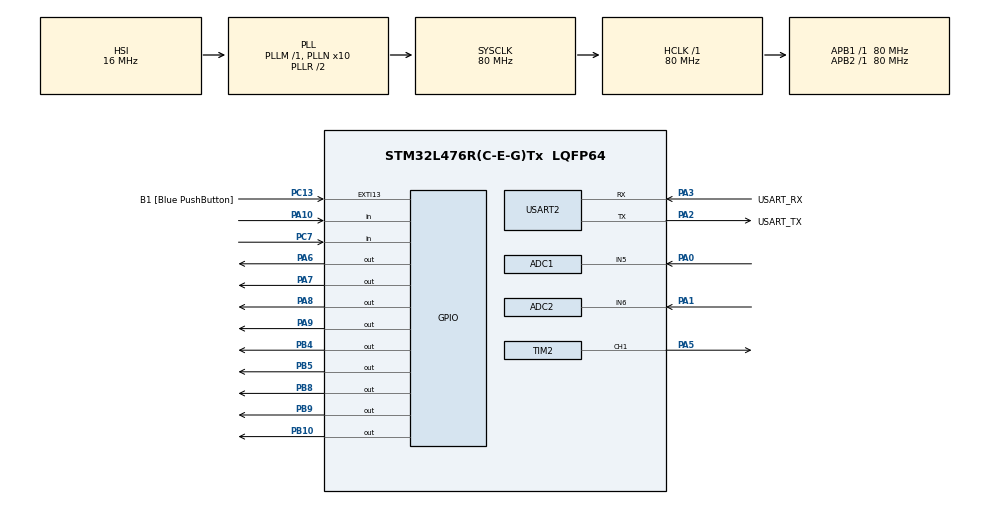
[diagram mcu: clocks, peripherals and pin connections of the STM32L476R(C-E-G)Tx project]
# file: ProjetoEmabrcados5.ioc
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ADC1.Channel-0\#ChannelRegularConversion=ADC_CHANNEL_5
ADC1.NbrOfConversionFlag=1
ADC1.OffsetNumber-0\#ChannelRegularConversion=ADC_OFFSET_NONE
ADC1.Rank-0\#ChannelRegularConversion=1
ADC1.SamplingTime-0\#ChannelRegularConversion=ADC_SAMPLETIME_2CYCLES_5
ADC1.master=1
ADC2.Channel-0\#ChannelRegularConversion=ADC_CHANNEL_6
ADC2.NbrOfConversionFlag=1
ADC2.OffsetNumber-0\#ChannelRegularConversion=ADC_OFFSET_NONE
ADC2.Rank-0\#ChannelRegularConversion=1
ADC2.SamplingTime-0\#ChannelRegularConversion=ADC_SAMPLETIME_2CYCLES_5
FREERTOS.Tasks01=defaultTask,0,128,StartDefaultTask,Default,NULL,Dynamic,NULL,NULL
FREERTOS.configTOTAL_HEAP_SIZE=16384
FREERTOS.configUSE_NEWLIB_REENTRANT=1
Mcu.Family=STM32L4
Mcu.Name=STM32L476R(C-E-G)Tx
Mcu.Package=LQFP64
NVIC.PriorityGroup=NVIC_PRIORITYGROUP_4
NVIC.TIM1_UP_TIM16_IRQn=true\:15\:0\:false\:false\:true\:false\:false\:true\:true
NVIC.TIM3_IRQn=true\:5\:0\:false\:false\:true\:true\:true\:true\:true
NVIC.TimeBase=TIM1_UP_TIM16_IRQn
NVIC.TimeBaseIP=TIM1
PA0.Signal=ADCx_IN5
PA1.Signal=ADCx_IN6
PA10.Signal=GPIO_Input
PA13\ (JTMS-SWDIO).GPIO_Label=TMS
PA13\ (JTMS-SWDIO).Mode=Serial_Wire
PA13\ (JTMS-SWDIO).Signal=SYS_JTMS-SWDIO
PA14\ (JTCK-SWCLK).GPIO_Label=TCK
PA14\ (JTCK-SWCLK).Mode=Serial_Wire
PA14\ (JTCK-SWCLK).Signal=SYS_JTCK-SWCLK
PA2.GPIO_Label=USART_TX
PA2.GPIO_Mode=GPIO_MODE_AF_PP
PA2.GPIO_PuPd=GPIO_NOPULL
PA2.GPIO_Speed=GPIO_SPEED_FREQ_VERY_HIGH
PA2.Mode=Asynchronous
PA2.Signal=USART2_TX
PA3.GPIO_Label=USART_RX
PA3.GPIO_Mode=GPIO_MODE_AF_PP
PA3.GPIO_PuPd=GPIO_NOPULL
PA3.GPIO_Speed=GPIO_SPEED_FREQ_VERY_HIGH
PA3.Mode=Asynchronous
PA3.Signal=USART2_RX
PA5.Signal=S_TIM2_CH1
PA6.Signal=GPIO_Output
PA7.Signal=GPIO_Output
PA8.Signal=GPIO_Output
PA9.Signal=GPIO_Output
PB10.Signal=GPIO_Output
PB3\ (JTDO-TRACESWO).GPIO_Label=SWO
PB3\ (JTDO-TRACESWO).Signal=SYS_JTDO-SWO
PB4\ (NJTRST).Signal=GPIO_Output
PB5.Signal=GPIO_Output
PB8.Signal=GPIO_Output
PB9.Signal=GPIO_Output
PC13.GPIO_Label=B1 [Blue PushButton]
PC13.GPIO_ModeDefaultEXTI=GPIO_MODE_IT_FALLING
PC13.GPIO_PuPd=GPIO_NOPULL
PC13.Signal=GPXTI13
PC14-OSC32_IN\ (PC14).Mode=LSE-External-Oscillator
PC14-OSC32_IN\ (PC14).Signal=RCC_OSC32_IN
PC15-OSC32_OUT\ (PC15).Mode=LSE-External-Oscillator
PC15-OSC32_OUT\ (PC15).Signal=RCC_OSC32_OUT
PC7.GPIO_PuPd=GPIO_PULLDOWN
PC7.Signal=GPIO_Input
PH0-OSC_IN\ (PH0).Signal=RCC_OSC_IN
PH1-OSC_OUT\ (PH1).Signal=RCC_OSC_OUT
ProjectManager.HeapSize=0x200
ProjectManager.StackSize=0x400
ProjectManager.TargetToolchain=STM32CubeIDE
RCC.ADCFreq_Value=64000000
RCC.AHBFreq_Value=80000000
RCC.APB1Freq_Value=80000000
RCC.APB1TimFreq_Value=80000000
RCC.APB2Freq_Value=80000000
RCC.APB2TimFreq_Value=80000000
RCC.CortexFreq_Value=80000000
RCC.HCLKFreq_Value=80000000
RCC.HSE_VALUE=8000000
RCC.HSI_VALUE=16000000
RCC.MSI_VALUE=4000000
RCC.PLLN=10
RCC.PLLSourceVirtual=RCC_PLLSOURCE_HSI
RCC.PREFETCH_ENABLE=1
RCC.SYSCLKFreq_VALUE=80000000
RCC.SYSCLKSource=RCC_SYSCLKSOURCE_PLLCLK
RCC.USBFreq_Value=64000000
RCC.VCOOutputFreq_Value=160000000
SH.ADCx_IN5.0=ADC1_IN5,IN5-Single-Ended
SH.ADCx_IN6.0=ADC2_IN6,IN6-Single-Ended
SH.S_TIM2_CH1.0=TIM2_CH1,PWM Generation1 CH1
TIM2.Channel-PWM\ Generation1\ CH1=TIM_CHANNEL_1
TIM2.Period=2000-1
TIM2.Prescaler=127
TIM3.Period=10000-1
TIM3.Prescaler=400-1
USART2.VirtualMode-Asynchronous=VM_ASYNC
VP_FREERTOS_VS_CMSIS_V1.Mode=CMSIS_V1
VP_SYS_VS_tim1.Mode=TIM1
VP_TIM2_VS_ClockSourceINT.Mode=Internal
VP_TIM3_VS_ClockSourceINT.Mode=Internal
board=NUCLEO-L476RG

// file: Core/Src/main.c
/* USER CODE BEGIN Header */
/**
 ******************************************************************************
 * @file           : main.c
 * @brief          : Main program body
 ******************************************************************************
 * @attention
 *
 * Copyright (c) 2024 STMicroelectronics.
 * All rights reserved.
 *
 * This software is licensed under terms that can be found in the LICENSE file
 * in the root directory of this software component.
 * If no LICENSE file comes with this software, it is provided AS-IS.
 *
 ******************************************************************************
 */
/* USER CODE END Header */
#include "main.h"
#include "cmsis_os.h"

/* USER CODE BEGIN Includes */
#define STDOUT_FILENO   1
#define STDERR_FILENO   2
/* USER CODE END Includes */

ADC_HandleTypeDef hadc1;
ADC_HandleTypeDef hadc2;

TIM_HandleTypeDef htim2;
TIM_HandleTypeDef htim3;

UART_HandleTypeDef huart2;

osThreadId defaultTaskHandle;

void SystemClock_Config(void);
void PeriphCommonClock_Config(void);
static void MX_GPIO_Init(void);
static void MX_USART2_UART_Init(void);
static void MX_ADC1_Init(void);
static void MX_ADC2_Init(void);
static void MX_TIM3_Init(void);
static void MX_TIM2_Init(void);
void StartDefaultTask(void const *argument);

/* USER CODE BEGIN 0 */

//Variaveis do sistema
volatile int16_t potenciometroQuantidade = 0;
volatile int16_t potenciometroBalanca = 0;
volatile int16_t distanciaGlobal = 0;
volatile uint8_t received_command = 0;

//variaveis a serem incrementadas
volatile int16_t potenciometroQuantidadeSelecionado = 0;

// semaforo
SemaphoreHandle_t xSemaphore = NULL;

// Flags sistema
volatile uint8_t flagBotao = 0;
volatile uint8_t flagMotor = 0;
volatile uint8_t flagBuzzer = 0;
volatile uint8_t flagLed = 0;
volatile uint8_t flagQuantidadeSelecionada = 0;
volatile uint8_t flagRacao = 0;

// estados tasks
TaskHandle_t xTaskPotenciometroQuantidade = 0;
TaskHandle_t xTaskRacao = 0;
TaskHandle_t xTaskBotao = 0;
TaskHandle_t xTaskMotor = 0;
TaskHandle_t xTaskSensorUltrassonico = 0;
TaskHandle_t xTaskBuzzer = 0;
TaskHandle_t xTaskLed = 0;
TaskHandle_t xTaskPotenciometroQtd = 0;
TaskHandle_t xTaskBalanca = 0;
TaskHandle_t xTaskBotaoSerialMode = 0;
TaskHandle_t xTaskPrints = 0;
TaskHandle_t xTaskSerialMOde = 0;

#define TRIGGER_PIN GPIO_PIN_8
#define TRIGGER_PORT GPIOA
#define ECHO_PIN GPIO_PIN_10
#define ECHO_PORT GPIOA
#define DEBOUNCE_DELAY 50

void HCSR04_Init(void) {
	GPIO_InitTypeDef GPIO_InitStruct = { 0 };
	GPIO_InitStruct.Pin = TRIGGER_PIN;
	GPIO_InitStruct.Mode = GPIO_MODE_OUTPUT_PP;
	GPIO_InitStruct.Pull = GPIO_NOPULL;
	GPIO_InitStruct.Speed = GPIO_SPEED_FREQ_LOW;
	HAL_GPIO_Init(TRIGGER_PORT, &GPIO_InitStruct);

	GPIO_InitStruct.Pin = ECHO_PIN;
	GPIO_InitStruct.Mode = GPIO_MODE_INPUT;
	GPIO_InitStruct.Pull = GPIO_NOPULL;
	HAL_GPIO_Init(ECHO_PORT, &GPIO_InitStruct);
}

uint32_t HCSR04_Read(void) {
	uint32_t local_time = 0;
	uint32_t start_time = 0;
	uint32_t stop_time = 0;

	HAL_GPIO_WritePin(TRIGGER_PORT, TRIGGER_PIN, GPIO_PIN_RESET);
	HAL_Delay(2);
	HAL_GPIO_WritePin(TRIGGER_PORT, TRIGGER_PIN, GPIO_PIN_SET);
	HAL_Delay(0.01);
	HAL_GPIO_WritePin(TRIGGER_PORT, TRIGGER_PIN, GPIO_PIN_RESET);

	while (HAL_GPIO_ReadPin(ECHO_PORT, ECHO_PIN) == GPIO_PIN_RESET)
		;

	start_time = HAL_GetTick();

	while (HAL_GPIO_ReadPin(ECHO_PORT, ECHO_PIN) == GPIO_PIN_SET)
		;

	stop_time = HAL_GetTick();
	local_time = stop_time - start_time;
	uint32_t distance = (local_time * 34300) / 2000;

	return distance;
}

void Buzzer_Init(void) {
	HAL_TIM_PWM_Start(&htim2, TIM_CHANNEL_1);
}

void SetBuzzerIntensity(uint16_t dutyCycle) {
	__HAL_TIM_SET_COMPARE(&htim2, TIM_CHANNEL_1, dutyCycle);
}

int16_t leituraPotenciometro1(void) {
	HAL_ADC_Start(&hadc1);
	HAL_ADC_PollForConversion(&hadc1, HAL_MAX_DELAY);
	return HAL_ADC_GetValue(&hadc1);
}
int16_t leituraPotenciometro2(void) {
	HAL_ADC_Start(&hadc2);
	HAL_ADC_PollForConversion(&hadc2, HAL_MAX_DELAY);
	return HAL_ADC_GetValue(&hadc2);
}

void vTaskLed(void *pvParameters) {
	for (;;) {
		if (distanciaGlobal == 0) {
			HAL_GPIO_TogglePin(GPIOA, GPIO_PIN_7);
			vTaskDelay(500);
		} else {
			HAL_GPIO_WritePin(GPIOA, GPIO_PIN_7, GPIO_PIN_RESET);
		}
	}
}

void vTaskBuzzer(void *pvParameters) {
	Buzzer_Init();

	for (;;) {
		if (distanciaGlobal == 0) {
			SetBuzzerIntensity(30);
			HAL_Delay(200);
			SetBuzzerIntensity(0);
			HAL_Delay(1000);
		}
	}
}
void vTaskSensorUltrassonico(void *pvParameters) {
	volatile int16_t distancia = 0;

	for (;;) {
		distancia = HCSR04_Read();

		if (distancia <= 20) {
			distanciaGlobal = 0;
			if ( xTaskBuzzer == 0) {
				xTaskCreate(vTaskBuzzer, "Buzzer", 128, NULL, 1, &xTaskBuzzer);
				xTaskCreate(vTaskLed, "Led", 128, NULL, 1, &xTaskLed);
			}
		} else if (distancia > 20) {
			distanciaGlobal = 1;
		}

		vTaskDelay(pdMS_TO_TICKS(700));
	}
}

void vTaskMotorPassos(void *pvParameters) {
	flagMotor = 0;
	for (;;) {

		if (distanciaGlobal == 1) {
			HAL_GPIO_WritePin(GPIOA, GPIO_PIN_9, GPIO_PIN_SET);
			HAL_GPIO_WritePin(GPIOA, GPIO_PIN_6, GPIO_PIN_RESET);
			HAL_GPIO_WritePin(GPIOB, GPIO_PIN_8, GPIO_PIN_RESET);
			HAL_GPIO_WritePin(GPIOB, GPIO_PIN_9, GPIO_PIN_RESET);
			HAL_Delay(2);

			HAL_GPIO_WritePin(GPIOA, GPIO_PIN_9, GPIO_PIN_RESET);
			HAL_GPIO_WritePin(GPIOA, GPIO_PIN_6, GPIO_PIN_SET);
			HAL_GPIO_WritePin(GPIOB, GPIO_PIN_8, GPIO_PIN_RESET);
			HAL_GPIO_WritePin(GPIOB, GPIO_PIN_9, GPIO_PIN_RESET);
			HAL_Delay(2);

			HAL_GPIO_WritePin(GPIOA, GPIO_PIN_9, GPIO_PIN_RESET);
			HAL_GPIO_WritePin(GPIOA, GPIO_PIN_6, GPIO_PIN_RESET);
			HAL_GPIO_WritePin(GPIOB, GPIO_PIN_8, GPIO_PIN_SET);
			HAL_GPIO_WritePin(GPIOB, GPIO_PIN_9, GPIO_PIN_RESET);
			HAL_Delay(2);

			HAL_GPIO_WritePin(GPIOA, GPIO_PIN_9, GPIO_PIN_RESET);
			HAL_GPIO_WritePin(GPIOA, GPIO_PIN_6, GPIO_PIN_RESET);
			HAL_GPIO_WritePin(GPIOB, GPIO_PIN_8, GPIO_PIN_RESET);
			HAL_GPIO_WritePin(GPIOB, GPIO_PIN_9, GPIO_PIN_SET);
			HAL_Delay(2);
			if(flagMotor == 0){
				printf("Sensor livre\n\r");
				flagMotor = 1;
			}
		}else{
			if(flagMotor == 1){
				printf("Sensor obstruido\n\r");
				flagMotor = 0;

			}
		}
	}

}

void vTaskReceiveCommand(void *pvParameters) {
    while (1) {
        HAL_UART_Receive(&huart2, (uint8_t*)&received_command, 1, HAL_MAX_DELAY);

    }
}

void vTaskPotenciometroQtd(void *pvParameters) {
	int16_t valorPotenciometro;
	for (;;) {
		valorPotenciometro = leituraPotenciometro1();
		potenciometroQuantidade = valorPotenciometro / 10;
		HAL_Delay(1000);
	}
}

void vTaskPotenciometroBalanca(void *pvParameters) {
	int16_t valorPotenciometroBalanca;

	for (;;) {
		valorPotenciometroBalanca = leituraPotenciometro2();
		potenciometroBalanca = valorPotenciometroBalanca / 10;
		HAL_Delay(1000);
	}
}

void vTaskQuantidadeRacao(void *pvParameters) {
	for (;;) {
		printf("Escolha a quantidade: %i\n\r", potenciometroQuantidade);
		potenciometroQuantidadeSelecionado = potenciometroQuantidade;
		vTaskDelay(1000);
	}
}

void vTaskEquilibrio(void *pvParameters) {

	volatile uint8_t flagComida = 0;
	volatile int16_t balancaCaindo = 0;
	volatile int16_t balancaSubindo = 0;

	for (;;) {
		if (distanciaGlobal == 0) {
			if (flagComida == 0) {
				balancaCaindo = potenciometroBalanca;
				flagComida = 1;
			}

		} else if (distanciaGlobal == 1) {
			potenciometroQuantidadeSelecionado = potenciometroQuantidadeSelecionado - balancaCaindo;
			balancaCaindo = 0;

			if (flagComida == 1) {
				balancaSubindo = potenciometroBalanca;
				potenciometroQuantidadeSelecionado = potenciometroQuantidadeSelecionado + balancaSubindo;
				flagComida = 0;
				balancaSubindo = 0;
			}
		}
	}
}

void vTaskRacao(void *pvParameters) {
	xTaskCreate(vTaskPotenciometroBalanca, "balancaPotenciometro", 128, NULL, 1,
			&xTaskBalanca);
	xTaskCreate(vTaskEquilibrio, "equilibrio", 128, NULL, 1, &xTaskBalanca);
	for (;;) {
		if (potenciometroBalanca >= potenciometroQuantidadeSelecionado) {
			flagRacao = 1;
		} else {
			flagRacao = 0;
		}
	}
}

void vTaskPrint(void *pvParameters) {
	for (;;) {
		if(flagBotao == 1){
			printf("Balanca: %i\n\r ", potenciometroBalanca);
			printf("Quantidade Racao: %i\n\r ", potenciometroQuantidadeSelecionado);
		}
		vTaskDelay(1500);

	}
}

void vTaskBotao(void *pvParameters) {
	static int estadoBotaoAnterior = GPIO_PIN_RESET;
	int estadoBotaoAtual;
	int flagStatus = 0;

	xTaskCreate(vTaskPotenciometroQtd, "quantidadePotenciometro", 128, NULL, 1,
			&xTaskPotenciometroQtd);
	xTaskCreate(vTaskQuantidadeRacao, "QuantidadeRacao", 128, NULL, 1,
			&xTaskPotenciometroQuantidade);
	xTaskCreate(vTaskPrint, "print", 128, NULL, 1,
			&xTaskPrints);

	for (;;) {
		estadoBotaoAtual = HAL_GPIO_ReadPin(GPIOC, GPIO_PIN_7);

		if (estadoBotaoAtual != estadoBotaoAnterior) {
			vTaskDelay(DEBOUNCE_DELAY);
			estadoBotaoAtual = HAL_GPIO_ReadPin(GPIOC, GPIO_PIN_7);
			if (estadoBotaoAtual != estadoBotaoAnterior) {
				estadoBotaoAnterior = estadoBotaoAtual;
				if (estadoBotaoAtual == GPIO_PIN_SET) {
					flagBotao = !flagBotao;
				}
			}
		}

		if (flagBotao == 1 && flagStatus == 0) {
			if (xTaskPotenciometroQuantidade != 0) {
				vTaskDelete(xTaskPotenciometroQuantidade);
				xTaskPotenciometroQuantidade = 0;
			}
			if (xTaskPotenciometroQtd != 0) {
				vTaskDelete(xTaskPotenciometroQtd);
				xTaskPotenciometroQtd = 0;
			}
			if (xTaskSensorUltrassonico == 0) {
				xTaskCreate(vTaskSensorUltrassonico, "SensorUltra", 128, NULL,
						2, &xTaskSensorUltrassonico);
			}
			if (xTaskRacao == 0) {
				xTaskCreate(vTaskRacao, "racao", 128, NULL, 1, &xTaskRacao);
			}

			if (xTaskMotor == 0) {
				xTaskCreate(vTaskMotorPassos, "MotorPassos", 128, NULL, 1,
						&xTaskMotor);

			}
			flagStatus = 1;

		}
		if (flagBotao == 0 && flagStatus == 1 || flagRacao == 1) {
			printf("\r FINALIZADO COM SUCESSO\n\n\r");
			if (xTaskSensorUltrassonico != 0) {
				vTaskDelete(xTaskSensorUltrassonico);
				xTaskSensorUltrassonico = 0;
			}
			if (xTaskMotor != 0) {
				vTaskDelete(xTaskMotor);
				xTaskMotor = 0;
			}
			if (xTaskPrints != 0) {
				vTaskDelete(xTaskPrints);
				xTaskPrints = 0;
			}
			printf("\rEscolha o modo a ser iniciado:\n\r");
			printf("Modo Hardware - H\n\r");
			printf("Modo Serial - S\n\r");
        	printf("Parar - P\n\r");
			flagBotao = 0;
			flagStatus = 0;
			xTaskBotao = 0;
			vTaskDelete(NULL);
		}
		vTaskDelay(50);
	}
}

void vTaskBotaoSerialMode(void *pvParameters) {
	static int estadoBotaoAnterior = GPIO_PIN_RESET;
	int estadoBotaoAtual;
	int flagStatuss = 0;

	xTaskCreate(vTaskPotenciometroQtd, "quantidadePotenciometro", 128, NULL, 1,
			&xTaskPotenciometroQtd);
	xTaskCreate(vTaskPrint, "print", 128, NULL, 1,
			&xTaskPrints);

	for (;;) {
		estadoBotaoAtual = HAL_GPIO_ReadPin(GPIOC, GPIO_PIN_7);

		if (estadoBotaoAtual != estadoBotaoAnterior) {
			vTaskDelay(DEBOUNCE_DELAY);
			estadoBotaoAtual = HAL_GPIO_ReadPin(GPIOC, GPIO_PIN_7);
			if (estadoBotaoAtual != estadoBotaoAnterior) {
				estadoBotaoAnterior = estadoBotaoAtual;
				if (estadoBotaoAtual == GPIO_PIN_SET) {
					flagBotao = !flagBotao;
				}
			}
		}

		if (flagBotao == 1 && flagStatuss == 0) {
			if (xTaskPotenciometroQtd != 0) {
				vTaskDelete(xTaskPotenciometroQtd);
				xTaskPotenciometroQtd = 0;
			}
			if (xTaskSensorUltrassonico == 0) {
				xTaskCreate(vTaskSensorUltrassonico, "SensorUltra", 128, NULL,
						2, &xTaskSensorUltrassonico);
			}
			if (xTaskRacao == 0) {
				xTaskCreate(vTaskRacao, "racao", 128, NULL, 1, &xTaskRacao);
			}

			if (xTaskMotor == 0) {
				xTaskCreate(vTaskMotorPassos, "MotorPassos", 128, NULL, 1,
						&xTaskMotor);

			}
			flagStatuss = 1;

		}
		if (flagBotao == 0 && flagStatuss == 1 || flagRacao == 1) {
			printf("\r FINALIZADO COM SUCESSO\n\n\r");
			if (xTaskSensorUltrassonico != 0) {
				vTaskDelete(xTaskSensorUltrassonico);
				xTaskSensorUltrassonico = 0;
			}
			if (xTaskMotor != 0) {
				vTaskDelete(xTaskMotor);
				xTaskMotor = 0;
			}
			if (xTaskPrints != 0) {
				vTaskDelete(xTaskPrints);
				xTaskPrints = 0;
			}
			printf("\rEscolha o modo a ser iniciado:\n\r");
			printf("Modo Hardware - H\n\r");
			printf("Modo Serial - S\n\r");
        	printf("Parar - P\n\r");
			flagBotao = 0;
			flagStatuss = 0;
			xTaskBotao = 0;
			vTaskDelete(NULL);
		}
		vTaskDelay(50);
	}
}

void vTaskSerialMode(void *pvParameters) {
	printf("\rEscolha a quantidade de ração desejada:\n\r");
	printf("100g - 1\n\r");
	printf("150g - 2\n\r");
	printf("200g - 3\n\r");
	printf("250g - 4\n\r");
	printf("300g - 5\n\r");
	printf("350g - 6\n\r");
	printf("400g - 7\n\r");
	for (;;) {
        switch (received_command) {
            case '1':
            	printf("Sua escolha foi de 100g\n\r");
            	potenciometroQuantidadeSelecionado = 100;
            	flagBotao = 1;
            	xTaskCreate(vTaskBotaoSerialMode, "botaoSerialMode", 128, NULL, 1, &xTaskBotaoSerialMode);
                received_command = 0;
                xTaskBotaoSerialMode =0;
            	vTaskDelete(NULL);
                break;
            case '2':
            	printf("Sua escolha foi de 150g\n\r");
            	potenciometroQuantidadeSelecionado = 150;
            	flagBotao = 1;
            	xTaskCreate(vTaskBotaoSerialMode, "botaoSerialMode", 128, NULL, 1, &xTaskBotaoSerialMode);
                received_command = 0;
                xTaskBotaoSerialMode = 0;
            	vTaskDelete(NULL);
                break;
            case '3':
            	printf("Sua escolha foi de 200g\n\r");
            	potenciometroQuantidadeSelecionado = 200;
            	flagBotao = 1;
            	xTaskCreate(vTaskBotaoSerialMode, "botaoSerialMode", 128, NULL, 1, &xTaskBotaoSerialMode);
                received_command = 0;
                xTaskBotaoSerialMode = 0;
            	vTaskDelete(NULL);
                break;
            case '4':
            	printf("Sua escolha foi de 250g\n\r");
            	potenciometroQuantidadeSelecionado = 250;
            	flagBotao = 1;
            	xTaskCreate(vTaskBotaoSerialMode, "botaoSerialMode", 128, NULL, 1, &xTaskBotaoSerialMode);
                received_command = 0;
                xTaskBotaoSerialMode = 0;
            	vTaskDelete(NULL);
                break;
            case '5':
            	printf("Sua escolha foi de 300g\n\r");
            	potenciometroQuantidadeSelecionado = 300;
            	flagBotao = 1;
            	xTaskCreate(vTaskBotaoSerialMode, "botaoSerialMode", 128, NULL, 1, &xTaskBotaoSerialMode);
            	flagBotao = 1;
            	received_command = 0;
            	xTaskBotaoSerialMode = 0;
            	vTaskDelete(NULL);
                break;
            case '6':
            	printf("Sua escolha foi de 350g\n\r");
            	potenciometroQuantidadeSelecionado = 350;
            	flagBotao = 1;
            	xTaskCreate(vTaskBotaoSerialMode, "botaoSerialMode", 128, NULL, 1, &xTaskBotaoSerialMode);
                received_command = 0;
                xTaskBotaoSerialMode = 0;
            	vTaskDelete(NULL);
                break;
            case '7':
            	printf("Sua escolha foi de 400g\n\r");
            	potenciometroQuantidadeSelecionado = 400;
            	flagBotao = 1;
            	xTaskCreate(vTaskBotaoSerialMode, "botaoSerialMode", 128, NULL, 1, &xTaskBotaoSerialMode);
                received_command = 0;
                xTaskBotaoSerialMode =0;
            	vTaskDelete(NULL);
                break;
        }

        vTaskDelay(pdMS_TO_TICKS(100));
    }
}

void vTaskControllerMode(void *pvParameters) {
	printf("\rEscolha o modo a ser iniciado:\n\r");
	printf("Modo Hardware - H\n\r");
	printf("Modo Serial - S\n\r");
	printf("Parar - P\n\r");
	for (;;) {
        switch (received_command) {
            case 'h':
            case 'H':
            	printf("Modo Hardware\n\r");
            	xTaskCreate(vTaskBotao, "botao", 128, NULL, 1, &xTaskBotao);
                break;

            case 's':
            case 'S':
            	printf("Modo Serial\n\r");
            	xTaskCreate(vTaskSerialMode, "modoSerial", 128, NULL, 1, &xTaskSerialMOde);
                break;
            case 'p':
            case 'P':
            	printf("CANCELADO!\n\r");
            	flagBotao = 0;
            	printf("\rEscolha o modo a ser iniciado:\n\r");
            	printf("Modo Hardware - H\n\r");
            	printf("Modo Serial - S\n\r");
            	printf("Parar - P\n\r");
                break;
        }
        received_command = 0;

        vTaskDelay(pdMS_TO_TICKS(100));
    }
}

/* USER CODE END 0 */

int main(void) {

	/* MCU Configuration--------------------------------------------------------*/

	/* Reset of all peripherals, Initializes the Flash interface and the Systick. */
	HAL_Init();

	/* Configure the system clock */
	SystemClock_Config();

	/* Configure the peripherals common clocks */
	PeriphCommonClock_Config();

	/* Initialize all configured peripherals */
	MX_GPIO_Init();
	MX_USART2_UART_Init();
	MX_ADC1_Init();
	MX_ADC2_Init();
	MX_TIM3_Init();
	MX_TIM2_Init();

	/* Create the thread(s) */
	/* definition and creation of defaultTask */
	osThreadDef(defaultTask, StartDefaultTask, osPriorityNormal, 0, 128);
	defaultTaskHandle = osThreadCreate(osThread(defaultTask), NULL);

	/* USER CODE BEGIN RTOS_THREADS */
	xSemaphore = xSemaphoreCreateBinary();

//	xTaskCreate(vTaskPotenciometroBalanca, "potenciometro balanca", 128, NULL, 1, NULL);
//	xTaskCreate(vTaskControllador, "Controller", 128, NULL, 1, NULL);
//	xTaskCreate(vTaskSensorUltrassonico, "SensorUltra", 128, NULL, 1,
//			&xTaskSensorUltrassonico);
	xTaskCreate(vTaskReceiveCommand, "comand", 128, NULL, 1, NULL);
	xTaskCreate(vTaskControllerMode, "MODE", 128, NULL, 1, NULL);

	vTaskStartScheduler();
	/* add threads, ... */
	/* USER CODE END RTOS_THREADS */

	/* Start scheduler */
	osKernelStart();

	/* We should never get here as control is now taken by the scheduler */

	/* Infinite loop */
	/* USER CODE BEGIN WHILE */
	while (1) {
		//      uint32_t distance = Read_Distance();
		// Aqui você pode exibir ou utilizar a variável `distance`
		//     HAL_Delay(1000);  // Medição a cada 1 segundo

		//      printf("%i distancia",distance);
		/* USER CODE END WHILE */

	}
}

void SystemClock_Config(void) {
	RCC_OscInitTypeDef RCC_OscInitStruct = { 0 };
	RCC_ClkInitTypeDef RCC_ClkInitStruct = { 0 };

	/** Configure the main internal regulator output voltage
	 */
	if (HAL_PWREx_ControlVoltageScaling(PWR_REGULATOR_VOLTAGE_SCALE1)
			!= HAL_OK) {
		Error_Handler();
	}

	/** Initializes the RCC Oscillators according to the specified parameters
	 * in the RCC_OscInitTypeDef structure.
	 */
	RCC_OscInitStruct.OscillatorType = RCC_OSCILLATORTYPE_HSI;
	RCC_OscInitStruct.HSIState = RCC_HSI_ON;
	RCC_OscInitStruct.HSICalibrationValue = RCC_HSICALIBRATION_DEFAULT;
	RCC_OscInitStruct.PLL.PLLState = RCC_PLL_ON;
	RCC_OscInitStruct.PLL.PLLSource = RCC_PLLSOURCE_HSI;
	RCC_OscInitStruct.PLL.PLLM = 1;
	RCC_OscInitStruct.PLL.PLLN = 10;
	RCC_OscInitStruct.PLL.PLLP = RCC_PLLP_DIV7;
	RCC_OscInitStruct.PLL.PLLQ = RCC_PLLQ_DIV2;
	RCC_OscInitStruct.PLL.PLLR = RCC_PLLR_DIV2;
	if (HAL_RCC_OscConfig(&RCC_OscInitStruct) != HAL_OK) {
		Error_Handler();
	}

	/** Initializes the CPU, AHB and APB buses clocks
	 */
	RCC_ClkInitStruct.ClockType = RCC_CLOCKTYPE_HCLK | RCC_CLOCKTYPE_SYSCLK
			| RCC_CLOCKTYPE_PCLK1 | RCC_CLOCKTYPE_PCLK2;
	RCC_ClkInitStruct.SYSCLKSource = RCC_SYSCLKSOURCE_PLLCLK;
	RCC_ClkInitStruct.AHBCLKDivider = RCC_SYSCLK_DIV1;
	RCC_ClkInitStruct.APB1CLKDivider = RCC_HCLK_DIV1;
	RCC_ClkInitStruct.APB2CLKDivider = RCC_HCLK_DIV1;

	if (HAL_RCC_ClockConfig(&RCC_ClkInitStruct, FLASH_LATENCY_4) != HAL_OK) {
		Error_Handler();
	}
}

void PeriphCommonClock_Config(void) {
	RCC_PeriphCLKInitTypeDef PeriphClkInit = { 0 };

	/** Initializes the peripherals clock
	 */
	PeriphClkInit.PeriphClockSelection = RCC_PERIPHCLK_ADC;
	PeriphClkInit.AdcClockSelection = RCC_ADCCLKSOURCE_PLLSAI1;
	PeriphClkInit.PLLSAI1.PLLSAI1Source = RCC_PLLSOURCE_HSI;
	PeriphClkInit.PLLSAI1.PLLSAI1M = 1;
	PeriphClkInit.PLLSAI1.PLLSAI1N = 8;
	PeriphClkInit.PLLSAI1.PLLSAI1P = RCC_PLLP_DIV7;
	PeriphClkInit.PLLSAI1.PLLSAI1Q = RCC_PLLQ_DIV2;
	PeriphClkInit.PLLSAI1.PLLSAI1R = RCC_PLLR_DIV2;
	PeriphClkInit.PLLSAI1.PLLSAI1ClockOut = RCC_PLLSAI1_ADC1CLK;
	if (HAL_RCCEx_PeriphCLKConfig(&PeriphClkInit) != HAL_OK) {
		Error_Handler();
	}
}

static void MX_ADC1_Init(void) {

	ADC_MultiModeTypeDef multimode = { 0 };
	ADC_ChannelConfTypeDef sConfig = { 0 };

	/** Common config
	 */
	hadc1.Instance = ADC1;
	hadc1.Init.ClockPrescaler = ADC_CLOCK_ASYNC_DIV1;
	hadc1.Init.Resolution = ADC_RESOLUTION_12B;
	hadc1.Init.DataAlign = ADC_DATAALIGN_RIGHT;
	hadc1.Init.ScanConvMode = ADC_SCAN_DISABLE;
	hadc1.Init.EOCSelection = ADC_EOC_SINGLE_CONV;
	hadc1.Init.LowPowerAutoWait = DISABLE;
	hadc1.Init.ContinuousConvMode = DISABLE;
	hadc1.Init.NbrOfConversion = 1;
	hadc1.Init.DiscontinuousConvMode = DISABLE;
	hadc1.Init.ExternalTrigConv = ADC_SOFTWARE_START;
	hadc1.Init.ExternalTrigConvEdge = ADC_EXTERNALTRIGCONVEDGE_NONE;
	hadc1.Init.DMAContinuousRequests = DISABLE;
	hadc1.Init.Overrun = ADC_OVR_DATA_PRESERVED;
	hadc1.Init.OversamplingMode = DISABLE;
	if (HAL_ADC_Init(&hadc1) != HAL_OK) {
		Error_Handler();
	}

	/** Configure the ADC multi-mode
	 */
	multimode.Mode = ADC_MODE_INDEPENDENT;
	if (HAL_ADCEx_MultiModeConfigChannel(&hadc1, &multimode) != HAL_OK) {
		Error_Handler();
	}

	/** Configure Regular Channel
	 */
	sConfig.Channel = ADC_CHANNEL_5;
	sConfig.Rank = ADC_REGULAR_RANK_1;
	sConfig.SamplingTime = ADC_SAMPLETIME_2CYCLES_5;
	sConfig.SingleDiff = ADC_SINGLE_ENDED;
	sConfig.OffsetNumber = ADC_OFFSET_NONE;
	sConfig.Offset = 0;
	if (HAL_ADC_ConfigChannel(&hadc1, &sConfig) != HAL_OK) {
		Error_Handler();
	}

}

static void MX_ADC2_Init(void) {

	ADC_ChannelConfTypeDef sConfig = { 0 };

	/** Common config
	 */
	hadc2.Instance = ADC2;
	hadc2.Init.ClockPrescaler = ADC_CLOCK_ASYNC_DIV1;
	hadc2.Init.Resolution = ADC_RESOLUTION_12B;
	hadc2.Init.DataAlign = ADC_DATAALIGN_RIGHT;
	hadc2.Init.ScanConvMode = ADC_SCAN_DISABLE;
	hadc2.Init.EOCSelection = ADC_EOC_SINGLE_CONV;
	hadc2.Init.LowPowerAutoWait = DISABLE;
	hadc2.Init.ContinuousConvMode = DISABLE;
	hadc2.Init.NbrOfConversion = 1;
	hadc2.Init.DiscontinuousConvMode = DISABLE;
	hadc2.Init.ExternalTrigConv = ADC_SOFTWARE_START;
	hadc2.Init.ExternalTrigConvEdge = ADC_EXTERNALTRIGCONVEDGE_NONE;
	hadc2.Init.DMAContinuousRequests = DISABLE;
	hadc2.Init.Overrun = ADC_OVR_DATA_PRESERVED;
	hadc2.Init.OversamplingMode = DISABLE;
	if (HAL_ADC_Init(&hadc2) != HAL_OK) {
		Error_Handler();
	}

	/** Configure Regular Channel
	 */
	sConfig.Channel = ADC_CHANNEL_6;
	sConfig.Rank = ADC_REGULAR_RANK_1;
	sConfig.SamplingTime = ADC_SAMPLETIME_2CYCLES_5;
	sConfig.SingleDiff = ADC_SINGLE_ENDED;
	sConfig.OffsetNumber = ADC_OFFSET_NONE;
	sConfig.Offset = 0;
	if (HAL_ADC_ConfigChannel(&hadc2, &sConfig) != HAL_OK) {
		Error_Handler();
	}

}

static void MX_TIM2_Init(void) {

	TIM_ClockConfigTypeDef sClockSourceConfig = { 0 };
	TIM_MasterConfigTypeDef sMasterConfig = { 0 };
	TIM_OC_InitTypeDef sConfigOC = { 0 };

	htim2.Instance = TIM2;
	htim2.Init.Prescaler = 127;
	htim2.Init.CounterMode = TIM_COUNTERMODE_UP;
	htim2.Init.Period = 2000 - 1;
	htim2.Init.ClockDivision = TIM_CLOCKDIVISION_DIV1;
	htim2.Init.AutoReloadPreload = TIM_AUTORELOAD_PRELOAD_DISABLE;
	if (HAL_TIM_Base_Init(&htim2) != HAL_OK) {
		Error_Handler();
	}
	sClockSourceConfig.ClockSource = TIM_CLOCKSOURCE_INTERNAL;
	if (HAL_TIM_ConfigClockSource(&htim2, &sClockSourceConfig) != HAL_OK) {
		Error_Handler();
	}
	if (HAL_TIM_PWM_Init(&htim2) != HAL_OK) {
		Error_Handler();
	}
	sMasterConfig.MasterOutputTrigger = TIM_TRGO_RESET;
	sMasterConfig.MasterSlaveMode = TIM_MASTERSLAVEMODE_DISABLE;
	if (HAL_TIMEx_MasterConfigSynchronization(&htim2, &sMasterConfig)
			!= HAL_OK) {
		Error_Handler();
	}
	sConfigOC.OCMode = TIM_OCMODE_PWM1;
	sConfigOC.Pulse = 0;
	sConfigOC.OCPolarity = TIM_OCPOLARITY_HIGH;
	sConfigOC.OCFastMode = TIM_OCFAST_DISABLE;
	if (HAL_TIM_PWM_ConfigChannel(&htim2, &sConfigOC, TIM_CHANNEL_1)
			!= HAL_OK) {
		Error_Handler();
	}
	HAL_TIM_MspPostInit(&htim2);

}

static void MX_TIM3_Init(void) {

	TIM_ClockConfigTypeDef sClockSourceConfig = { 0 };
	TIM_MasterConfigTypeDef sMasterConfig = { 0 };

	htim3.Instance = TIM3;
	htim3.Init.Prescaler = 400 - 1;
	htim3.Init.CounterMode = TIM_COUNTERMODE_UP;
	htim3.Init.Period = 10000 - 1;
	htim3.Init.ClockDivision = TIM_CLOCKDIVISION_DIV1;
	htim3.Init.AutoReloadPreload = TIM_AUTORELOAD_PRELOAD_DISABLE;
	if (HAL_TIM_Base_Init(&htim3) != HAL_OK) {
		Error_Handler();
	}
	sClockSourceConfig.ClockSource = TIM_CLOCKSOURCE_INTERNAL;
	if (HAL_TIM_ConfigClockSource(&htim3, &sClockSourceConfig) != HAL_OK) {
		Error_Handler();
	}
	sMasterConfig.MasterOutputTrigger = TIM_TRGO_RESET;
	sMasterConfig.MasterSlaveMode = TIM_MASTERSLAVEMODE_DISABLE;
	if (HAL_TIMEx_MasterConfigSynchronization(&htim3, &sMasterConfig)
			!= HAL_OK) {
		Error_Handler();
	}

}

static void MX_USART2_UART_Init(void) {

	huart2.Instance = USART2;
	huart2.Init.BaudRate = 115200;
	huart2.Init.WordLength = UART_WORDLENGTH_8B;
	huart2.Init.StopBits = UART_STOPBITS_1;
	huart2.Init.Parity = UART_PARITY_NONE;
	huart2.Init.Mode = UART_MODE_TX_RX;
	huart2.Init.HwFlowCtl = UART_HWCONTROL_NONE;
	huart2.Init.OverSampling = UART_OVERSAMPLING_16;
	huart2.Init.OneBitSampling = UART_ONE_BIT_SAMPLE_DISABLE;
	huart2.AdvancedInit.AdvFeatureInit = UART_ADVFEATURE_NO_INIT;
	if (HAL_UART_Init(&huart2) != HAL_OK) {
		Error_Handler();
	}

}

static void MX_GPIO_Init(void) {
	GPIO_InitTypeDef GPIO_InitStruct = { 0 };

	/* GPIO Ports Clock Enable */
	__HAL_RCC_GPIOC_CLK_ENABLE();
	__HAL_RCC_GPIOH_CLK_ENABLE();
	__HAL_RCC_GPIOA_CLK_ENABLE();
	__HAL_RCC_GPIOB_CLK_ENABLE();

	/*Configure GPIO pin Output Level */
	HAL_GPIO_WritePin(GPIOA, GPIO_PIN_6 | GPIO_PIN_7 | GPIO_PIN_8 | GPIO_PIN_9,
			GPIO_PIN_RESET);

	/*Configure GPIO pin Output Level */
	HAL_GPIO_WritePin(GPIOB,
	GPIO_PIN_10 | GPIO_PIN_4 | GPIO_PIN_5 | GPIO_PIN_8 | GPIO_PIN_9,
			GPIO_PIN_RESET);

	/*Configure GPIO pin : B1_Pin */
	GPIO_InitStruct.Pin = B1_Pin;
	GPIO_InitStruct.Mode = GPIO_MODE_IT_FALLING;
	GPIO_InitStruct.Pull = GPIO_NOPULL;
	HAL_GPIO_Init(B1_GPIO_Port, &GPIO_InitStruct);

	/*Configure GPIO pins : PA6 PA7 PA8 PA9 */
	GPIO_InitStruct.Pin = GPIO_PIN_6 | GPIO_PIN_7 | GPIO_PIN_8 | GPIO_PIN_9;
	GPIO_InitStruct.Mode = GPIO_MODE_OUTPUT_PP;
	GPIO_InitStruct.Pull = GPIO_NOPULL;
	GPIO_InitStruct.Speed = GPIO_SPEED_FREQ_LOW;
	HAL_GPIO_Init(GPIOA, &GPIO_InitStruct);

	/*Configure GPIO pins : PB10 PB4 PB5 PB8
	 PB9 */
	GPIO_InitStruct.Pin = GPIO_PIN_10 | GPIO_PIN_4 | GPIO_PIN_5 | GPIO_PIN_8
			| GPIO_PIN_9;
	GPIO_InitStruct.Mode = GPIO_MODE_OUTPUT_PP;
	GPIO_InitStruct.Pull = GPIO_NOPULL;
	GPIO_InitStruct.Speed = GPIO_SPEED_FREQ_LOW;
	HAL_GPIO_Init(GPIOB, &GPIO_InitStruct);

	/*Configure GPIO pin : PC7 */
	GPIO_InitStruct.Pin = GPIO_PIN_7;
	GPIO_InitStruct.Mode = GPIO_MODE_INPUT;
	GPIO_InitStruct.Pull = GPIO_PULLDOWN;
	HAL_GPIO_Init(GPIOC, &GPIO_InitStruct);

	/*Configure GPIO pin : PA10 */
	GPIO_InitStruct.Pin = GPIO_PIN_10;
	GPIO_InitStruct.Mode = GPIO_MODE_INPUT;
	GPIO_InitStruct.Pull = GPIO_NOPULL;
	HAL_GPIO_Init(GPIOA, &GPIO_InitStruct);

}

/* USER CODE BEGIN 4 */

int _write(int file, uint8_t *ptr, int len) {
	switch (file) {
	case STDOUT_FILENO:
		HAL_UART_Transmit(&huart2, ptr, len, HAL_MAX_DELAY);
		break;

	case STDERR_FILENO:
		HAL_UART_Transmit(&huart2, ptr, len, HAL_MAX_DELAY);
		break;

	default:
		return -1;
	}

	return len;
}
/* USER CODE END 4 */

void StartDefaultTask(void const *argument) {
	for (;;) {
		osDelay(1);
	}
}

void HAL_TIM_PeriodElapsedCallback(TIM_HandleTypeDef *htim) {
	if (htim->Instance == TIM1) {
		HAL_IncTick();
	}
}

void Error_Handler(void) {
	__disable_irq();
	while (1) {
	}
}
